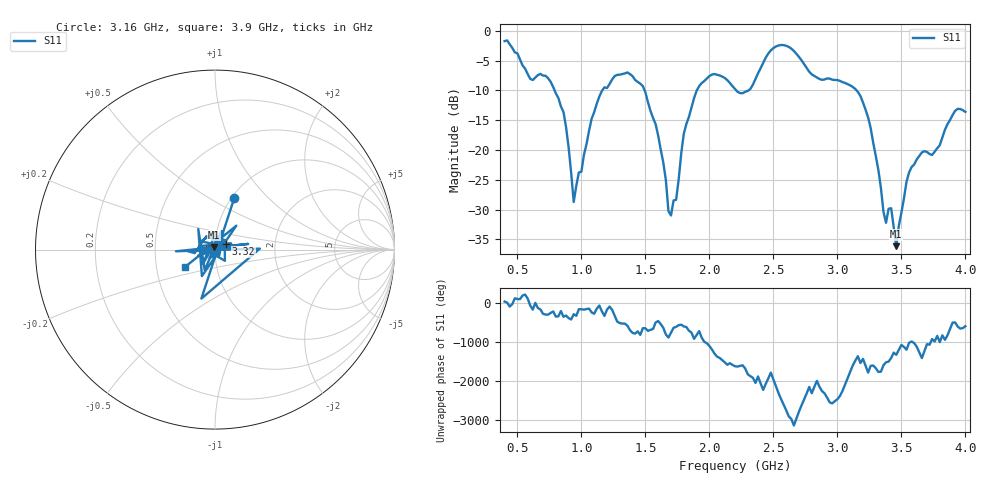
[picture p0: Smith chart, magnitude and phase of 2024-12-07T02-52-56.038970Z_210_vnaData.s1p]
!Created with skrf (http://scikit-rf.org).
# Hz S RI R 50.0
!freq ReS11 ImS11
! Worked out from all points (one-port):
!   181 points, 400 MHz to 4 GHz, reference 50 ohm
!   lowest |S11| = -36.1 dB at 3.46 GHz (marker M1), VSWR 1.03, Z = 49.5 + j1.49 ohm
!   |S11| at or under -10 dB: 790.6 MHz to 1.163 GHz (372.5 MHz wide, 38.1 % of centre); 1.494 GHz to 1.902 GHz (407.9 MHz wide, 24 % of centre); 3.149 GHz to end of sweep (the widest 3 of 4)
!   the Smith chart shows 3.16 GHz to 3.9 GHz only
!   S11 on the Smith chart (normalised r, x): 3.16 GHz: 1.03, +0.65; 3.32 GHz: 1.13, +0.07; 3.9 GHz: 0.70, -0.14
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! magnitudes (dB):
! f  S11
! 400 MHz  -1.7
! 600 MHz  -8.1
! 740 MHz  -8.0
! 860 MHz  -13.6
! 940 MHz  -28.7
! 1.12 GHz  -12.2
! 1.3 GHz  -7.4
! 1.5 GHz  -10.3
! 1.6 GHz  -17.6
! 1.68 GHz  -30.2
! 1.76 GHz  -24.9
! 1.8 GHz  -17.3
! 1.92 GHz  -9.3
! 2.04 GHz  -7.3
! 2.2 GHz  -9.8
! 2.32 GHz  -9.8
! 2.5 GHz  -2.9
! 2.66 GHz  -3.4
! 3.1 GHz  -9.2
! 3.16 GHz  -10.3
! 3.24 GHz  -14.5
! 3.32 GHz  -23.3
! 3.36 GHz  -30.4
! 3.42 GHz  -29.8
! 3.46 GHz  -36.1
! 3.56 GHz  -23.8
! 3.9 GHz  -14.1
! 4 GHz  -13.6
